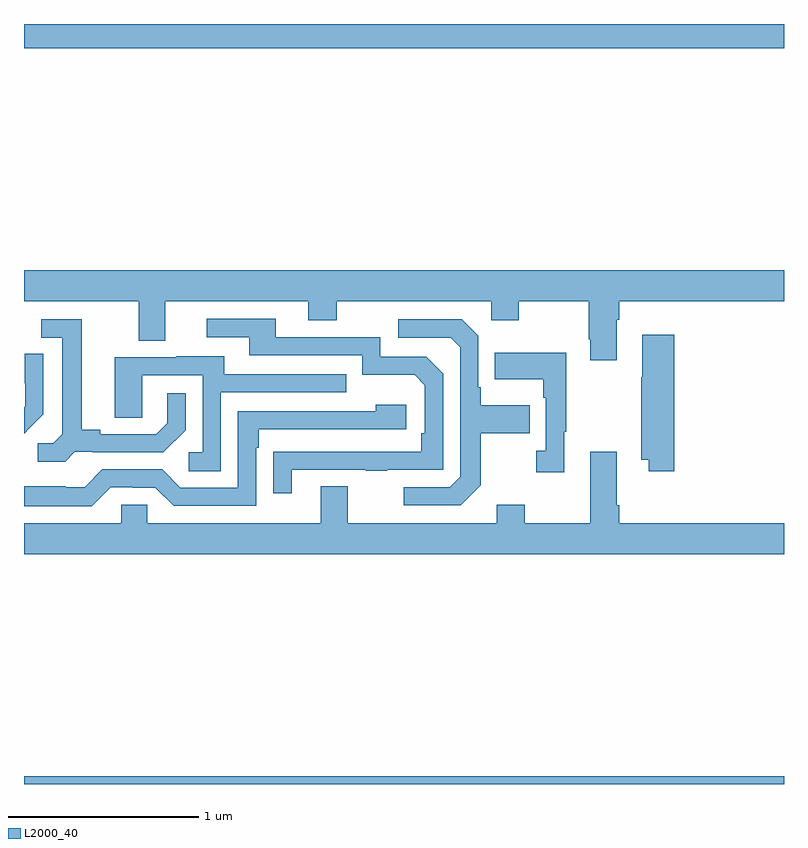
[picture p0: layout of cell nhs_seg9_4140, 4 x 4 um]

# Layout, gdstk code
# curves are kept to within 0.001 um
import gdstk
lib = gdstk.Library(unit=1e-6, precision=1e-09)
def R(c, l, rs):  # rectangles x0, y0, x1, y1
    for r in rs: c.add(gdstk.rectangle(r[:2], r[2:], *l))
def P(c, l, *ps):  # polygons
    for p in ps: c.add(gdstk.Polygon(p, *l))
L2000_40 = (2000, 40)

nhs_seg9_4140 = lib.new_cell('nhs_seg9_4140')
R(nhs_seg9_4140, L2000_40, [(347,1240.5,351,1240.54), (347,1244.372,351,1244.5)])
P(nhs_seg9_4140, L2000_40, [(350.119,1242.944),(350.132,1242.944),(350.132,1243.04),(351,1243.04),(351,1243.204),(347,1243.204),(347,1243.04),(347.603,1243.04),(347.603,1242.832),(347.743,1242.832),(347.743,1243.04),(348.497,1243.04),(348.497,1242.941),(348.645,1242.941),(348.645,1243.04),(349.458,1243.04),(349.458,1242.941),(349.605,1242.941),(349.605,1243.04),(349.972,1243.04),(349.972,1242.841),(349.979,1242.841),(349.979,1242.729),(350.119,1242.729)],
  [(348.409,1242.153),(348.799,1242.153),(348.799,1242.148),(348.911,1242.148),(348.911,1242.153),(349.206,1242.153),(349.206,1242.66),(349.116,1242.75),(348.876,1242.75),(348.876,1242.852),(348.325,1242.852),(348.325,1242.948),(347.961,1242.948),(347.961,1242.852),(348.185,1242.852),(348.185,1242.756),(348.78,1242.756),(348.78,1242.653),(349.057,1242.653),(349.11,1242.6),(349.11,1242.346),(349.09,1242.346),(349.09,1242.249),(348.313,1242.248),(348.313,1242.03),(348.409,1242.03)],
  [(347.268,1242.249),(347.362,1242.249),(347.362,1242.246),(347.734,1242.246),(347.85,1242.362),(347.85,1242.556),(347.753,1242.556),(347.753,1242.399),(347.696,1242.342),(347.401,1242.342),(347.401,1242.365),(347.305,1242.365),(347.305,1242.945),(347.091,1242.945),(347.091,1242.849),(347.201,1242.849),(347.201,1242.341),(347.154,1242.294),(347.073,1242.294),(347.073,1242.197),(347.216,1242.197)],
  [(349.405,1242.073),(349.405,1242.346),(349.661,1242.346),(349.661,1242.493),(349.405,1242.493),(349.405,1242.589),(349.392,1242.589),(349.392,1242.858),(349.305,1242.945),(348.969,1242.945),(348.969,1242.849),(349.245,1242.849),(349.296,1242.798),(349.296,1242.117),(349.242,1242.063),(348.999,1242.063),(348.999,1241.967),(349.299,1241.967)],
  [(350.423,1242.865),(350.255,1242.865),(350.255,1242.641),(350.248,1242.641),(350.248,1242.206),(350.288,1242.206),(350.288,1242.147),(350.423,1242.147)],
  [(349.843,1242.353),(349.855,1242.353),(349.855,1242.769),(349.477,1242.769),(349.477,1242.629),(349.734,1242.629),(349.734,1242.533),(349.746,1242.533),(349.746,1242.254),(349.695,1242.254),(349.695,1242.141),(349.843,1242.141)],
  [(347.028,1242.372),(347.027,1242.373),(347.1,1242.446),(347.1,1242.764),(347.004,1242.764),(347.004,1242.61),(347.006,1242.61),(347.006,1242.488),(347,1242.482),(347,1242.344)],
  [(348.036,1242.561),(348.695,1242.561),(348.695,1242.657),(348.055,1242.657),(348.055,1242.751),(347.801,1242.751),(347.801,1242.747),(347.477,1242.747),(347.477,1242.427),(347.622,1242.427),(347.622,1242.651),(347.94,1242.651),(347.94,1242.246),(347.868,1242.246),(347.868,1242.145),(348.036,1242.145)],
  [(347.457,1242.063),(347.573,1242.063),(347.573,1242.06),(347.691,1242.06),(347.787,1241.964),(348.222,1241.964),(348.222,1242.269),(348.235,1242.269),(348.235,1242.366),(349.012,1242.366),(349.012,1242.496),(348.851,1242.496),(348.851,1242.462),(348.126,1242.462),(348.126,1242.06),(347.823,1242.06),(347.727,1242.156),(347.412,1242.156),(347.319,1242.063),(347.219,1242.063),(347.219,1242.067),(347,1242.067),(347,1241.963),(347.357,1241.963)],
  [(351,1241.872),(350.132,1241.872),(350.132,1241.968),(350.119,1241.968),(350.119,1242.25),(349.979,1242.25),(349.979,1241.872),(349.635,1241.872),(349.635,1241.971),(349.487,1241.971),(349.487,1241.872),(348.703,1241.872),(348.703,1242.067),(348.563,1242.067),(348.563,1241.872),(347.649,1241.872),(347.649,1241.97),(347.511,1241.97),(347.511,1241.872),(347,1241.872),(347,1241.708),(351,1241.708)])

lib.write_gds('nhs_seg9_4140.gds')
